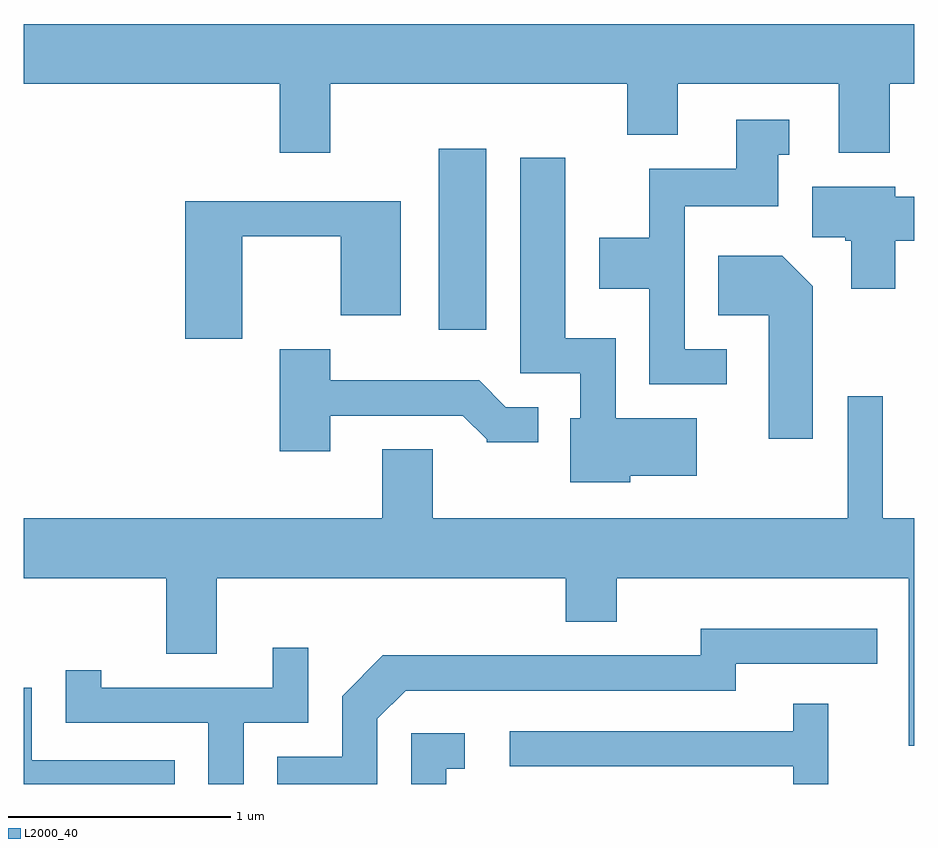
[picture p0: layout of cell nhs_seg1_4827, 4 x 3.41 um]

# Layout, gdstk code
import gdstk
lib = gdstk.Library(unit=1e-6, precision=1e-09)
def R(c, l, rs):  # rectangles x0, y0, x1, y1
    for r in rs: c.add(gdstk.rectangle(r[:2], r[2:], *l))
def P(c, l, *ps):  # polygons
    for p in ps: c.add(gdstk.Polygon(p, *l))
L2000_40 = (2000, 40)

nhs_seg1_4827 = lib.new_cell('nhs_seg1_4827')
R(nhs_seg1_4827, L2000_40, [(331.476,951.751,331.689,952.564)])
P(nhs_seg1_4827, L2000_40, [(330.989,952.856),(332.321,952.856),(332.321,952.626),(332.549,952.626),(332.549,952.856),(333.271,952.856),(333.271,952.546),(333.499,952.546),(333.499,952.856),(333.611,952.856),(333.611,953.124),(329.611,953.124),(329.611,952.856),(330.761,952.856),(330.761,952.546),(330.989,952.546)],
  [(332.768,951.664),(332.579,951.664),(332.579,952.306),(332.999,952.306),(332.999,952.536),(333.048,952.536),(333.048,952.694),(332.811,952.694),(332.811,952.474),(332.421,952.474),(332.421,952.164),(332.196,952.164),(332.196,951.936),(332.421,951.936),(332.421,951.506),(332.768,951.506)],
  [(332.334,951.096),(332.634,951.096),(332.634,951.354),(332.269,951.354),(332.269,951.714),(332.044,951.714),(332.044,952.524),(331.841,952.524),(331.841,951.556),(332.111,951.556),(332.111,951.354),(332.066,951.354),(332.066,951.066),(332.334,951.066)],
  [(333.524,952.151),(333.611,952.151),(333.611,952.349),(333.524,952.349),(333.524,952.394),(333.151,952.394),(333.151,952.166),(333.3,952.166),(333.3,952.151),(333.326,952.151),(333.326,951.936),(333.524,951.936)],
  [(330.594,952.171),(331.036,952.171),(331.036,951.816),(331.304,951.816),(331.304,952.329),(330.336,952.329),(330.336,951.711),(330.594,951.711)],
  [(333.154,951.947),(333.017,952.084),(332.731,952.084),(332.731,951.816),(332.956,951.816),(332.956,951.261),(333.154,951.261)],
  [(330.989,951.366),(331.584,951.366),(331.69,951.26),(331.69,951.246),(331.923,951.246),(331.923,951.404),(331.777,951.404),(331.657,951.524),(330.989,951.524),(330.989,951.664),(330.761,951.664),(330.761,951.206),(330.989,951.206)],
  [(333.611,950.904),(333.469,950.904),(333.469,951.453),(333.311,951.453),(333.311,950.904),(331.449,950.904),(331.449,951.214),(331.221,951.214),(331.221,950.904),(329.611,950.904),(329.611,950.636),(330.251,950.636),(330.251,950.296),(330.479,950.296),(330.479,950.636),(332.046,950.636),(332.046,950.441),(332.274,950.441),(332.274,950.636),(333.586,950.636),(333.586,949.883),(333.611,949.883)],
  [(331.199,950.004),(331.327,950.131),(332.809,950.131),(332.809,950.251),(333.443,950.251),(333.443,950.409),(332.651,950.409),(332.651,950.289),(331.224,950.289),(331.041,950.107),(331.041,949.834),(330.751,949.834),(330.751,949.712),(331.199,949.712)],
  [(330.599,949.986),(330.889,949.986),(330.889,950.323),(330.731,950.323),(330.731,950.144),(329.959,950.144),(329.959,950.223),(329.801,950.223),(329.801,949.986),(330.441,949.986),(330.441,949.712),(330.599,949.712)],
  [(330.289,949.819),(329.649,949.819),(329.649,950.144),(329.611,950.144),(329.611,949.712),(330.289,949.712)],
  [(333.224,950.073),(333.066,950.073),(333.066,949.949),(331.793,949.949),(331.793,949.791),(333.066,949.791),(333.066,949.712),(333.224,949.712)],
  [(331.509,949.781),(331.593,949.781),(331.593,949.939),(331.351,949.939),(331.351,949.712),(331.509,949.712)])

lib.write_gds('nhs_seg1_4827.gds')
